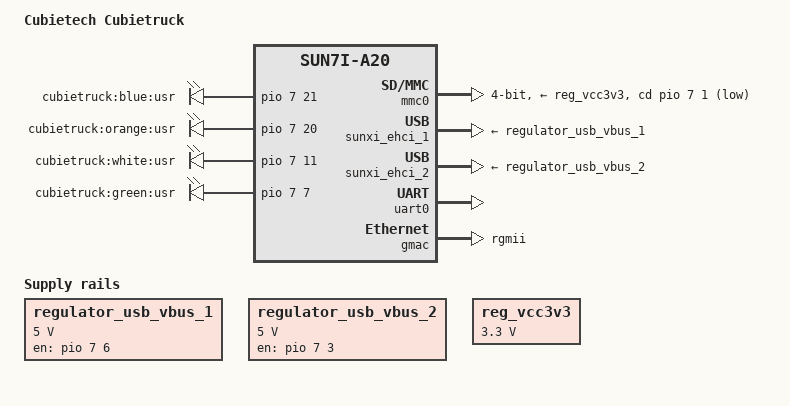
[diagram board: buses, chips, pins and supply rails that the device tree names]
/*
 * Copyright 2013 Oliver Schinagl
 *
 * Oliver Schinagl <oliver@schinagl.nl>
 *
 * The code contained herein is licensed under the GNU General Public
 * License. You may obtain a copy of the GNU General Public License
 * Version 2 or later at the following locations:
 *
 * http://www.opensource.org/licenses/gpl-license.html
 * http://www.gnu.org/copyleft/gpl.html
 */

/dts-v1/;
/include/ "sun7i-a20.dtsi"

/ {
	model = "Cubietech Cubietruck";
	compatible = "cubietech,cubietruck", "allwinner,sun7i-a20";

	soc@01c00000 {

		mmc0: mmc@01c0f000 {
                	pinctrl-names = "default";
                	pinctrl-0 = <&mmc0_pins_a>, <&mmc0_cd_pin_reference_design>;
			vmmc-supply = <&reg_vcc3v3>;
                	bus-width = <4>;
                	cd-gpios = <&pio 7 1 0>; /* PH1 */
                	cd-inverted;
                	status = "okay";
                };
		sunxi_ehci_1: sun-ehci@0x01c14000 {
			vbus-supply = <&regulator_usb_vbus_1>;
			status = "okay";
		};

		sunxi_ehci_2: sun-ehci@0x01c1c000 {
			vbus-supply = <&regulator_usb_vbus_2>;
			status = "okay";
		};

		pinctrl@01c20800 {
			led_pins_cubietruck: led_pins@0 {
				allwinner,pins = "PH7", "PH11", "PH20", "PH21";
				allwinner,function = "gpio_out";
				allwinner,drive = <0>;
				allwinner,pull = <0>;
			};

			usb_vbus_pin_1: usb_vbus1@01c28000 {
				allwinner,pins = "PH6";
				allwinner,function = "gpio_out";
				allwinner,drive = <0>;
				allwinner,pull = <2>;
			};

			usb_vbus_pin_2: usb_vbus2@01c28000 {
				allwinner,pins = "PH3";
				allwinner,function = "gpio_out";
				allwinner,drive = <0>;
				allwinner,pull = <2>;
			};

		};

		uart0: serial@01c28000 {
			pinctrl-names = "default";
			pinctrl-0 = <&uart0_pins_a>;
			status = "okay";
		};

		gmac: ethernet@01c50000 {
			pinctrl-names = "default";
			pinctrl-0 = <&gmac_pins_rgmii>;
			snps,phy-addr = <1>;
			phy-mode = "rgmii";
			status = "okay";
		};

		gmac: ethernet@01c50000 {
			pinctrl-names = "default";
			pinctrl-0 = <&gmac_pins_rgmii>;
			snps,phy-addr = <1>;
			phy-mode = "rgmii";
			status = "okay";
		};
	};

	leds {
		compatible = "gpio-leds";
		pinctrl-names = "default";
		pinctrl-0 = <&led_pins_cubietruck>;

		blue {
			label = "cubietruck:blue:usr";
			gpios = <&pio 7 21 0>;
		};

		orange {
			label = "cubietruck:orange:usr";
			gpios = <&pio 7 20 0>;
		};

		white {
			label = "cubietruck:white:usr";
			gpios = <&pio 7 11 0>;
		};

		green {
			label = "cubietruck:green:usr";
			gpios = <&pio 7 7 0>;
		};
	};

	regulators {
		compatible = "simple-bus";
		pinctrl-names = "default";

		regulator_usb_vbus_1: usb-vbus1 {
			compatible = "regulator-fixed";
			pinctrl-names = "default";
			pinctrl-0 = <&usb_vbus_pin_1>;
			regulator-name = "usb-vbus_1";
			regulator-min-microvolt = <5000000>;
			regulator-max-microvolt = <5000000>;
			enable-active-high;
			gpio = <&pio 7 6 0>;
		};

		regulator_usb_vbus_2: usb-vbus2 {
			compatible = "regulator-fixed";
			pinctrl-names = "default";
			pinctrl-0 = <&usb_vbus_pin_2>;
			regulator-name = "usb-vbus_2";
			regulator-min-microvolt = <5000000>;
			regulator-max-microvolt = <5000000>;
			enable-active-high;
			gpio = <&pio 7 3 0>;
		};
	};

	reg_vcc3v3: vcc3v3 {
		compatible = "regulator-fixed";
		regulator-name = "vcc3v3";
		regulator-min-microvolt = <3300000>;
		regulator-max-microvolt = <3300000>;
	};
};
